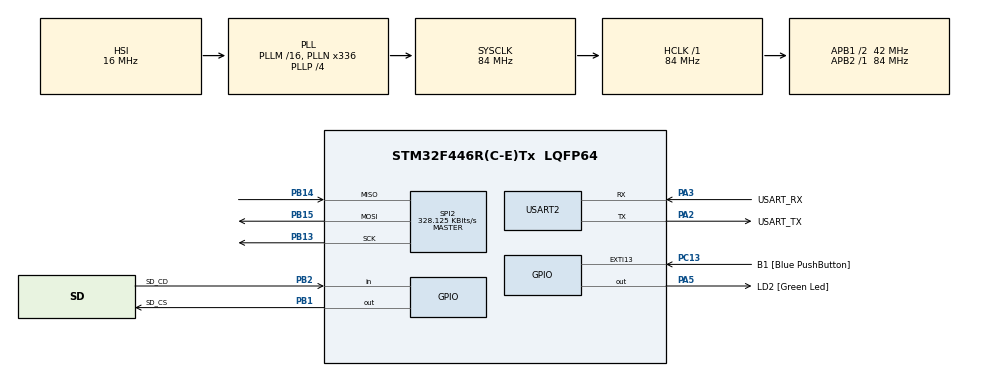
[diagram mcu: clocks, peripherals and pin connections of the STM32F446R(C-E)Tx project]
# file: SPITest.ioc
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Mcu.Family=STM32F4
Mcu.Name=STM32F446R(C-E)Tx
Mcu.Package=LQFP64
NVIC.PriorityGroup=NVIC_PRIORITYGROUP_0
PA13.GPIO_Label=TMS
PA13.Mode=Serial_Wire
PA13.Signal=SYS_JTMS-SWDIO
PA14.GPIO_Label=TCK
PA14.Mode=Serial_Wire
PA14.Signal=SYS_JTCK-SWCLK
PA2.GPIO_Label=USART_TX
PA2.Mode=Asynchronous
PA2.Signal=USART2_TX
PA3.GPIO_Label=USART_RX
PA3.Mode=Asynchronous
PA3.Signal=USART2_RX
PA5.GPIO_Label=LD2 [Green Led]
PA5.Signal=GPIO_Output
PB1.GPIO_Label=SD_CS
PB1.GPIO_Speed=GPIO_SPEED_FREQ_HIGH
PB1.PinState=GPIO_PIN_SET
PB1.Signal=GPIO_Output
PB13.Mode=Full_Duplex_Master
PB13.Signal=SPI2_SCK
PB14.Mode=Full_Duplex_Master
PB14.Signal=SPI2_MISO
PB15.Mode=Full_Duplex_Master
PB15.Signal=SPI2_MOSI
PB2.GPIO_Label=SD_CD
PB2.Signal=GPIO_Input
PB3.GPIO_Label=SWO
PB3.Signal=SYS_JTDO-SWO
PC13.GPIO_Label=B1 [Blue PushButton]
PC13.GPIO_ModeDefaultEXTI=GPIO_MODE_IT_FALLING
PC13.Signal=GPXTI13
PC14-OSC32_IN.Mode=LSE-External-Oscillator
PC14-OSC32_IN.Signal=RCC_OSC32_IN
PC15-OSC32_OUT.Mode=LSE-External-Oscillator
PC15-OSC32_OUT.Signal=RCC_OSC32_OUT
PH0-OSC_IN.Mode=HSE-External-Oscillator
PH0-OSC_IN.Signal=RCC_OSC_IN
PH1-OSC_OUT.Mode=HSE-External-Oscillator
PH1-OSC_OUT.Signal=RCC_OSC_OUT
ProjectManager.HeapSize=0x200
ProjectManager.StackSize=0x400
ProjectManager.TargetToolchain=STM32CubeIDE
RCC.48MHZClocksFreq_Value=84000000
RCC.AHBFreq_Value=84000000
RCC.APB1CLKDivider=RCC_HCLK_DIV2
RCC.APB1Freq_Value=42000000
RCC.APB1TimFreq_Value=84000000
RCC.APB2Freq_Value=84000000
RCC.APB2TimFreq_Value=84000000
RCC.CortexFreq_Value=84000000
RCC.FLatency-AdvancedSettings=FLASH_LATENCY_2
RCC.HCLKFreq_Value=84000000
RCC.HSE_VALUE=8000000
RCC.HSI_VALUE=16000000
RCC.PLLN=336
RCC.PLLP=RCC_PLLP_DIV4
RCC.SYSCLKFreq_VALUE=84000000
RCC.SYSCLKSource=RCC_SYSCLKSOURCE_PLLCLK
RCC.USBFreq_Value=168000000
RCC.VCOOutputFreq_Value=336000000
SPI2.BaudRatePrescaler=SPI_BAUDRATEPRESCALER_128
SPI2.CalculateBaudRate=328.125 KBits/s
SPI2.DataSize=SPI_DATASIZE_8BIT
SPI2.Direction=SPI_DIRECTION_2LINES
SPI2.Mode=SPI_MODE_MASTER
SPI2.VirtualType=VM_MASTER
USART2.VirtualMode=VM_ASYNC
VP_FATFS_VS_Generic.Mode=User_defined
board=NUCLEO-F446RE

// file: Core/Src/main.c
/* USER CODE BEGIN Header */
/**
  ******************************************************************************
  * @file           : main.c
  * @brief          : Main program body
  ******************************************************************************
  * @attention
  *
  * Copyright (c) 2024 STMicroelectronics.
  * All rights reserved.
  *
  * This software is licensed under terms that can be found in the LICENSE file
  * in the root directory of this software component.
  * If no LICENSE file comes with this software, it is provided AS-IS.
  *
  ******************************************************************************
  */
/* USER CODE END Header */
#include "main.h"
#include "fatfs.h"

/* USER CODE BEGIN Includes */
#include <stdarg.h>
#include <string.h>
/* USER CODE END Includes */

SPI_HandleTypeDef hspi2;

UART_HandleTypeDef huart2;

void SystemClock_Config(void);
static void MX_GPIO_Init(void);
static void MX_USART2_UART_Init(void);
static void MX_SPI2_Init(void);

/* USER CODE BEGIN 0 */
uint8_t isCardInserted() {
    return HAL_GPIO_ReadPin(SD_CD_GPIO_Port, SD_CD_Pin) == GPIO_PIN_SET;
}
/* USER CODE END 0 */

int main(void)
{

  /* MCU Configuration--------------------------------------------------------*/

  /* Reset of all peripherals, Initializes the Flash interface and the Systick. */
  HAL_Init();

  /* Configure the system clock */
  SystemClock_Config();

  /* Initialize all configured peripherals */
  MX_GPIO_Init();
  MX_USART2_UART_Init();
  MX_SPI2_Init();
  MX_FATFS_Init();
  /* USER CODE BEGIN 2 */

  //some variables for FatFs
  FATFS FatFs; 	//Fatfs handle
  FIL fil; 		//File handle
  FRESULT fres; //Result after operations

  while(fres != FR_OK) {
	  while (!isCardInserted()) {
		  HAL_Delay(100);
	  }
	  //Open the file system
	  fres = f_mount(&FatFs, "", 1);
  }

  //Now let's try and write a file "write.txt"
  fres = f_open(&fil, "write.txt", FA_WRITE | FA_OPEN_ALWAYS | FA_CREATE_ALWAYS);

  BYTE readBuf[30];
  strncpy((char*)readBuf, "Niko is the best!!", 19);
  UINT bytesWrote;
  fres = f_write(&fil, readBuf, 19, &bytesWrote);
  if(fres != FR_OK) {
	__NOP();
  }

  //Be a tidy kiwi - don't forget to close your file!
  f_close(&fil);

  //We're done, so de-mount the drive
  f_mount(NULL, "", 0);
  /* USER CODE END 2 */

  /* Infinite loop */
  while (1)
  {

  }
}

void SystemClock_Config(void)
{
  RCC_OscInitTypeDef RCC_OscInitStruct = {0};
  RCC_ClkInitTypeDef RCC_ClkInitStruct = {0};

  /** Configure the main internal regulator output voltage
  */
  __HAL_RCC_PWR_CLK_ENABLE();
  __HAL_PWR_VOLTAGESCALING_CONFIG(PWR_REGULATOR_VOLTAGE_SCALE3);

  /** Initializes the RCC Oscillators according to the specified parameters
  * in the RCC_OscInitTypeDef structure.
  */
  RCC_OscInitStruct.OscillatorType = RCC_OSCILLATORTYPE_HSI;
  RCC_OscInitStruct.HSIState = RCC_HSI_ON;
  RCC_OscInitStruct.HSICalibrationValue = RCC_HSICALIBRATION_DEFAULT;
  RCC_OscInitStruct.PLL.PLLState = RCC_PLL_ON;
  RCC_OscInitStruct.PLL.PLLSource = RCC_PLLSOURCE_HSI;
  RCC_OscInitStruct.PLL.PLLM = 16;
  RCC_OscInitStruct.PLL.PLLN = 336;
  RCC_OscInitStruct.PLL.PLLP = RCC_PLLP_DIV4;
  RCC_OscInitStruct.PLL.PLLQ = 2;
  RCC_OscInitStruct.PLL.PLLR = 2;
  if (HAL_RCC_OscConfig(&RCC_OscInitStruct) != HAL_OK)
  {
    Error_Handler();
  }

  /** Initializes the CPU, AHB and APB buses clocks
  */
  RCC_ClkInitStruct.ClockType = RCC_CLOCKTYPE_HCLK|RCC_CLOCKTYPE_SYSCLK
                              |RCC_CLOCKTYPE_PCLK1|RCC_CLOCKTYPE_PCLK2;
  RCC_ClkInitStruct.SYSCLKSource = RCC_SYSCLKSOURCE_PLLCLK;
  RCC_ClkInitStruct.AHBCLKDivider = RCC_SYSCLK_DIV1;
  RCC_ClkInitStruct.APB1CLKDivider = RCC_HCLK_DIV2;
  RCC_ClkInitStruct.APB2CLKDivider = RCC_HCLK_DIV1;

  if (HAL_RCC_ClockConfig(&RCC_ClkInitStruct, FLASH_LATENCY_2) != HAL_OK)
  {
    Error_Handler();
  }
}

static void MX_SPI2_Init(void)
{

  /* SPI2 parameter configuration*/
  hspi2.Instance = SPI2;
  hspi2.Init.Mode = SPI_MODE_MASTER;
  hspi2.Init.Direction = SPI_DIRECTION_2LINES;
  hspi2.Init.DataSize = SPI_DATASIZE_8BIT;
  hspi2.Init.CLKPolarity = SPI_POLARITY_LOW;
  hspi2.Init.CLKPhase = SPI_PHASE_1EDGE;
  hspi2.Init.NSS = SPI_NSS_SOFT;
  hspi2.Init.BaudRatePrescaler = SPI_BAUDRATEPRESCALER_128;
  hspi2.Init.FirstBit = SPI_FIRSTBIT_MSB;
  hspi2.Init.TIMode = SPI_TIMODE_DISABLE;
  hspi2.Init.CRCCalculation = SPI_CRCCALCULATION_DISABLE;
  hspi2.Init.CRCPolynomial = 10;
  if (HAL_SPI_Init(&hspi2) != HAL_OK)
  {
    Error_Handler();
  }

}

static void MX_USART2_UART_Init(void)
{

  huart2.Instance = USART2;
  huart2.Init.BaudRate = 115200;
  huart2.Init.WordLength = UART_WORDLENGTH_8B;
  huart2.Init.StopBits = UART_STOPBITS_1;
  huart2.Init.Parity = UART_PARITY_NONE;
  huart2.Init.Mode = UART_MODE_TX_RX;
  huart2.Init.HwFlowCtl = UART_HWCONTROL_NONE;
  huart2.Init.OverSampling = UART_OVERSAMPLING_16;
  if (HAL_UART_Init(&huart2) != HAL_OK)
  {
    Error_Handler();
  }

}

static void MX_GPIO_Init(void)
{
  GPIO_InitTypeDef GPIO_InitStruct = {0};

  /* GPIO Ports Clock Enable */
  __HAL_RCC_GPIOC_CLK_ENABLE();
  __HAL_RCC_GPIOH_CLK_ENABLE();
  __HAL_RCC_GPIOA_CLK_ENABLE();
  __HAL_RCC_GPIOB_CLK_ENABLE();

  /*Configure GPIO pin Output Level */
  HAL_GPIO_WritePin(LD2_GPIO_Port, LD2_Pin, GPIO_PIN_RESET);

  /*Configure GPIO pin Output Level */
  HAL_GPIO_WritePin(SD_CS_GPIO_Port, SD_CS_Pin, GPIO_PIN_SET);

  /*Configure GPIO pin : B1_Pin */
  GPIO_InitStruct.Pin = B1_Pin;
  GPIO_InitStruct.Mode = GPIO_MODE_IT_FALLING;
  GPIO_InitStruct.Pull = GPIO_NOPULL;
  HAL_GPIO_Init(B1_GPIO_Port, &GPIO_InitStruct);

  /*Configure GPIO pin : LD2_Pin */
  GPIO_InitStruct.Pin = LD2_Pin;
  GPIO_InitStruct.Mode = GPIO_MODE_OUTPUT_PP;
  GPIO_InitStruct.Pull = GPIO_NOPULL;
  GPIO_InitStruct.Speed = GPIO_SPEED_FREQ_LOW;
  HAL_GPIO_Init(LD2_GPIO_Port, &GPIO_InitStruct);

  /*Configure GPIO pin : SD_CS_Pin */
  GPIO_InitStruct.Pin = SD_CS_Pin;
  GPIO_InitStruct.Mode = GPIO_MODE_OUTPUT_PP;
  GPIO_InitStruct.Pull = GPIO_NOPULL;
  GPIO_InitStruct.Speed = GPIO_SPEED_FREQ_HIGH;
  HAL_GPIO_Init(SD_CS_GPIO_Port, &GPIO_InitStruct);

  /*Configure GPIO pin : SD_CD_Pin */
  GPIO_InitStruct.Pin = SD_CD_Pin;
  GPIO_InitStruct.Mode = GPIO_MODE_INPUT;
  GPIO_InitStruct.Pull = GPIO_NOPULL;
  HAL_GPIO_Init(SD_CD_GPIO_Port, &GPIO_InitStruct);

}

void Error_Handler(void)
{
  __disable_irq();
  while (1)
  {
  }
}
